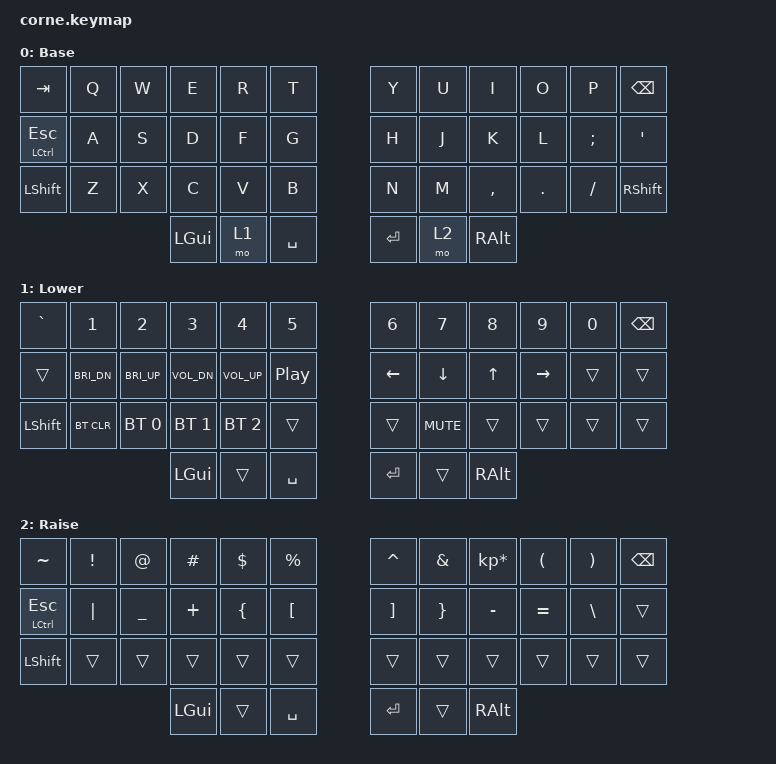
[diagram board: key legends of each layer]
/*
 * Copyright (c) 2020 The ZMK Contributors
 *
 * SPDX-License-Identifier: MIT
 */

#include <behaviors.dtsi>
#include <dt-bindings/zmk/keys.h>
#include <dt-bindings/zmk/bt.h>

/ {
        keymap {
                compatible = "zmk,keymap";

                default_layer {
// -----------------------------------------------------------------------------------------
// |    TAB   |  Q  |  W  |  E  |  R  |  T  |   |  Y  |  U   |  I  |  O  |  P  | BKSP |
// | ESC/LCTR |  A  |  S  |  D  |  F  |  G  |   |  H  |  J   |  K  |  L  |  ;  |  '   |
// |   SHFT   |  Z  |  X  |  C  |  V  |  B  |   |  N  |  M   |  ,  |  .  |  /  | SHFT |
//                        | CMD | LOW | SPC |   | ENT | RSE  | ALT |
                        label = "Base";
                        bindings = <
   &kp TAB        &kp Q &kp W &kp E &kp R &kp T   &kp Y &kp U  &kp I     &kp O   &kp P    &kp BSPC
   &mt LCTRL ESC  &kp A &kp S &kp D &kp F &kp G   &kp H &kp J  &kp K     &kp L   &kp SEMI &kp SQT
   &kp LSHFT      &kp Z &kp X &kp C &kp V &kp B   &kp N &kp M  &kp COMMA &kp DOT &kp FSLH &kp RSHFT
                  &kp LGUI &mo 1 &kp SPACE   &kp RET &mo 2 &kp RALT
                        >;
                };
                lower_layer {
// -----------------------------------------------------------------------------------------
// |  `   |  1    |  2  |  3  |  4  |  5  |   |  6  |  7  |  8  |  9  |  0  | BKSP |
// |      | BDN   | BUP | VDN | VUP | P/P |   | LFT | DWN |  UP | RGT |     |      |
// | SHFT | BTCLR | BT1 | BT2 | BT3 |     |   |     | MUT |     |     |     |      |
//                      | CMD |     | SPC |   | ENT |     | ALT |
                        label = "Lower";
                        bindings = <
   &kp GRAVE  &kp N1        &kp N2        &kp N3       &kp N4       &kp N5    &kp N6    &kp N7      &kp N8  &kp N9    &kp N0 &kp BSPC
   &trans     &kp C_BRI_DN  &kp C_BRI_UP  &kp C_VOL_DN &kp C_VOL_UP &kp C_PP  &kp LEFT  &kp DOWN    &kp UP  &kp RIGHT &trans &trans
   &kp LSHFT  &bt BT_CLR    &bt BT_SEL 0  &bt BT_SEL 1 &bt BT_SEL 2 &trans    &trans    &kp C_MUTE  &trans  &trans    &trans &trans
                                          &kp LGUI     &trans       &kp SPACE &kp RET   &trans      &kp RALT
                        >;
                };

                raise_layer {
// -----------------------------------------------------------------------------------------
// |  ~       |  !  |  @  |  #  |  $  |  %  |   |  ^  |  &  |  *  |  (  |  )  | BKSP |
// | ESC/CTRL | "|" |  _  |  +  |  {  | [   |   |  ]  |  }  |  -  |  =  |  \  |      | 
// | SHFT     |     |     |     |     |     |   |     |     |     |     |     |      |
//                        | CMD |     | SPC |   | ENT |     | ALT |
                        label = "Raise";
                        bindings = <
   &kp TILDE &kp EXCL &kp AT    &kp HASH  &kp DLLR  &kp PRCNT   &kp CARET &kp AMPS  &kp KP_MULTIPLY &kp LPAR  &kp RPAR &kp BSPC
   &mt LCTRL ESC &kp PIPE &kp UNDER &kp PLUS  &kp LBRC  &kp LBKT    &kp RBKT  &kp RBRC  &kp MINUS       &kp EQUAL &kp BSLH &trans
   &kp LSHFT &trans   &trans    &trans    &trans    &trans      &trans    &trans    &trans          &trans    &trans   &trans
                    	          &kp LGUI  &trans    &kp SPACE   &kp RET   &trans    &kp RALT
                        >;
                };
        };
};
